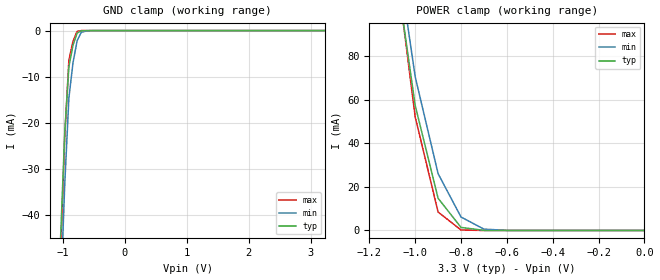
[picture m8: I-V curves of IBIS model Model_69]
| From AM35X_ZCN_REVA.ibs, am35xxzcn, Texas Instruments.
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| Model based on original model for IHHV1833DVTP18_7LM
|   Sub model HV1833DVTP18_7LM_3P3
[model]   Model_69
|[Description]  3.3V-INPUT-X-X
|[Input Load]
|[Output Drive]
|Voltage   3.3V
|Mode   INPUT
Model_type   Input
Polarity   Non-Inverting
Vinl =  0.8V
Vinh =  2V
C_comp   0.6935759p   0.5873084p   0.8051541p
[Model Spec]
Vinl   0.8V   0.8V   0.8V
Vinh   2V   2V   2V
[Temperature Range]   25   125   -40
[Voltage Range]   3.3   2.97   3.63
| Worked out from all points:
|   GND clamp passes 1 mA (typ) near -0.78 V on its own axis
|   POWER clamp passes 1 mA (typ) near -0.77 V on its own axis
[POWER_clamp]
-3.3V     2.37A      2.825A     2.542A
-1.067V   106.7mA    118.7mA    107.5mA
-1.033V   82.08mA    94.67mA    79.86mA
-1V       57.43mA    70.6mA     52.18mA
-900mV    14.79mA    26.08mA    8.469mA
-800mV    1.407mA    6.167mA    217.1uA
-700mV    42.79uA    620uA      2.441uA
-600mV    1.22uA     42.15uA    237.6nA
0V        32.72nA    14.4nA     165.7nA
[GND_clamp]
-3.3V     -1.789A    -1.667A    -2.617A
-1.033V   -44.81mA   -57.25mA   -48.92mA
-966.7mV  -22.13mA   -33.35mA   -22.95mA
-900mV    -7.849mA   -14.6mA    -6.399mA
-833.3mV  -3.15mA    -6.926mA   -2.286mA
-766.7mV  -544.9uA   -2.179mA   -154.2uA
-700mV    -32.68uA   -358.6uA   -2.922uA
-566.7mV  -746.9nA   -21.95uA   -23.21nA
3.233V    32.19nA    27.04nA    142.8nA
